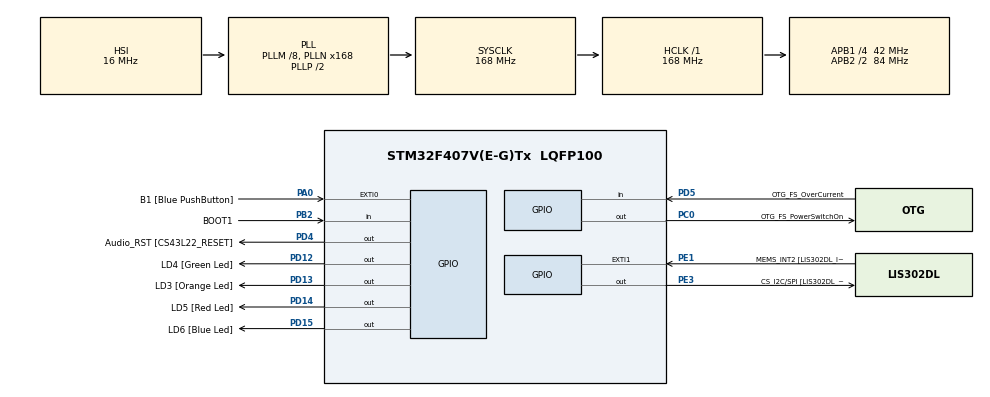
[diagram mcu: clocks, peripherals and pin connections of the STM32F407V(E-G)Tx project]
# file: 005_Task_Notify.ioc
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Mcu.Family=STM32F4
Mcu.Name=STM32F407V(E-G)Tx
Mcu.Package=LQFP100
NVIC.PriorityGroup=NVIC_PRIORITYGROUP_4
NVIC.TIM6_DAC_IRQn=true\:0\:0\:false\:false\:true\:false\:true\:true
NVIC.TimeBase=TIM6_DAC_IRQn
NVIC.TimeBaseIP=TIM6
PA0-WKUP.GPIO_Label=B1 [Blue PushButton]
PA0-WKUP.Signal=GPXTI0
PA10.GPIO_Label=OTG_FS_ID
PA10.GPIO_Mode=GPIO_MODE_AF_PP
PA10.GPIO_PuPd=GPIO_NOPULL
PA10.GPIO_Speed=GPIO_SPEED_FREQ_LOW
PA10.Signal=USB_OTG_FS_ID
PA11.GPIO_Label=OTG_FS_DM
PA11.GPIO_Mode=GPIO_MODE_AF_PP
PA11.GPIO_PuPd=GPIO_NOPULL
PA11.GPIO_Speed=GPIO_SPEED_FREQ_LOW
PA11.Signal=USB_OTG_FS_DM
PA12.GPIO_Label=OTG_FS_DP
PA12.GPIO_Mode=GPIO_MODE_AF_PP
PA12.GPIO_PuPd=GPIO_NOPULL
PA12.GPIO_Speed=GPIO_SPEED_FREQ_LOW
PA12.Signal=USB_OTG_FS_DP
PA13.GPIO_Label=SWDIO
PA13.Signal=SYS_JTMS-SWDIO
PA14.GPIO_Label=SWCLK
PA14.Signal=SYS_JTCK-SWCLK
PA4.GPIO_Label=I2S3_WS [CS43L22_LRCK]
PA4.GPIO_Mode=GPIO_MODE_AF_PP
PA4.GPIO_PuPd=GPIO_NOPULL
PA4.GPIO_Speed=GPIO_SPEED_FREQ_LOW
PA4.Signal=I2S3_WS
PA5.GPIO_Label=SPI1_SCK [LIS302DL_SCL/SPC]
PA5.GPIO_Mode=GPIO_MODE_AF_PP
PA5.GPIO_PuPd=GPIO_NOPULL
PA5.GPIO_Speed=GPIO_SPEED_FREQ_LOW
PA5.Signal=SPI1_SCK
PA6.GPIO_Label=SPI1_MISO [LIS302DL_SDO]
PA6.GPIO_Mode=GPIO_MODE_AF_PP
PA6.GPIO_PuPd=GPIO_NOPULL
PA6.GPIO_Speed=GPIO_SPEED_FREQ_LOW
PA6.Signal=SPI1_MISO
PA7.GPIO_Label=SPI1_MOSI [LIS302DL_SDA/SDI/SDO]
PA7.GPIO_Mode=GPIO_MODE_AF_PP
PA7.GPIO_PuPd=GPIO_NOPULL
PA7.GPIO_Speed=GPIO_SPEED_FREQ_LOW
PA7.Signal=SPI1_MOSI
PA9.GPIO_Label=VBUS_FS
PA9.GPIO_Mode=GPIO_MODE_INPUT
PA9.GPIO_PuPd=GPIO_NOPULL
PA9.Signal=USB_OTG_FS_VBUS
PB10.GPIO_Label=CLK_IN [MP45DT02_CLK]
PB10.GPIO_Mode=GPIO_MODE_AF_PP
PB10.GPIO_PuPd=GPIO_NOPULL
PB10.GPIO_Speed=GPIO_SPEED_FREQ_LOW
PB10.Signal=I2S2_CK
PB2.GPIO_Label=BOOT1
PB2.GPIO_Mode=GPIO_MODE_INPUT
PB2.GPIO_PuPd=GPIO_NOPULL
PB2.Signal=GPIO_Input
PB3.GPIO_Label=SWO
PB3.Signal=SYS_JTDO-SWO
PB6.GPIO_Label=Audio_SCL [CS43L22_SCL]
PB6.GPIO_Mode=GPIO_MODE_AF_OD
PB6.GPIO_PuPd=GPIO_NOPULL
PB6.GPIO_Speed=GPIO_SPEED_FREQ_LOW
PB6.Signal=I2C1_SCL
PB9.GPIO_Label=Audio_SDA [CS43L22_SDA]
PB9.GPIO_Mode=GPIO_MODE_AF_OD
PB9.GPIO_PuPd=GPIO_NOPULL
PB9.GPIO_Speed=GPIO_SPEED_FREQ_LOW
PB9.Signal=I2C1_SDA
PC0.GPIO_Label=OTG_FS_PowerSwitchOn
PC0.GPIO_PuPd=GPIO_NOPULL
PC0.GPIO_Speed=GPIO_SPEED_FREQ_LOW
PC0.PinState=GPIO_PIN_SET
PC0.Signal=GPIO_Output
PC10.GPIO_Label=I2S3_SCK [CS43L22_SCLK]
PC10.GPIO_Mode=GPIO_MODE_AF_PP
PC10.GPIO_PuPd=GPIO_NOPULL
PC10.GPIO_Speed=GPIO_SPEED_FREQ_LOW
PC10.Signal=I2S3_CK
PC12.GPIO_Label=I2S3_SD [CS43L22_SDIN]
PC12.GPIO_Mode=GPIO_MODE_AF_PP
PC12.GPIO_PuPd=GPIO_NOPULL
PC12.GPIO_Speed=GPIO_SPEED_FREQ_LOW
PC12.Signal=I2S3_SD
PC14-OSC32_IN.GPIO_Label=PC14-OSC32_IN
PC14-OSC32_IN.Signal=RCC_OSC32_IN
PC15-OSC32_OUT.GPIO_Label=PC15-OSC32_OUT
PC15-OSC32_OUT.Signal=RCC_OSC32_OUT
PC3.GPIO_Label=PDM_OUT [MP45DT02_DOUT]
PC3.GPIO_Mode=GPIO_MODE_AF_PP
PC3.GPIO_PuPd=GPIO_NOPULL
PC3.GPIO_Speed=GPIO_SPEED_FREQ_LOW
PC3.Signal=I2S2_SD
PC7.GPIO_Label=I2S3_MCK [CS43L22_MCLK]
PC7.GPIO_Mode=GPIO_MODE_AF_PP
PC7.GPIO_PuPd=GPIO_NOPULL
PC7.GPIO_Speed=GPIO_SPEED_FREQ_LOW
PC7.Signal=I2S3_MCK
PD12.GPIO_Label=LD4 [Green Led]
PD12.GPIO_PuPd=GPIO_NOPULL
PD12.GPIO_Speed=GPIO_SPEED_FREQ_LOW
PD12.Signal=GPIO_Output
PD13.GPIO_Label=LD3 [Orange Led]
PD13.GPIO_PuPd=GPIO_NOPULL
PD13.GPIO_Speed=GPIO_SPEED_FREQ_LOW
PD13.Signal=GPIO_Output
PD14.GPIO_Label=LD5 [Red Led]
PD14.GPIO_PuPd=GPIO_NOPULL
PD14.GPIO_Speed=GPIO_SPEED_FREQ_LOW
PD14.Signal=GPIO_Output
PD15.GPIO_Label=LD6 [Blue Led]
PD15.GPIO_PuPd=GPIO_NOPULL
PD15.GPIO_Speed=GPIO_SPEED_FREQ_LOW
PD15.Signal=GPIO_Output
PD4.GPIO_Label=Audio_RST [CS43L22_RESET]
PD4.GPIO_PuPd=GPIO_NOPULL
PD4.GPIO_Speed=GPIO_SPEED_FREQ_LOW
PD4.Signal=GPIO_Output
PD5.GPIO_Label=OTG_FS_OverCurrent
PD5.GPIO_Mode=GPIO_MODE_INPUT
PD5.GPIO_PuPd=GPIO_NOPULL
PD5.Signal=GPIO_Input
PE1.GPIO_Label=MEMS_INT2 [LIS302DL_INT2]
PE1.GPIO_ModeDefaultEXTI=GPIO_MODE_EVT_RISING
PE1.GPIO_PuPd=GPIO_NOPULL
PE1.Signal=GPXTI1
PE3.GPIO_Label=CS_I2C/SPI [LIS302DL_CS_I2C/SPI]
PE3.GPIO_PuPd=GPIO_NOPULL
PE3.GPIO_Speed=GPIO_SPEED_FREQ_LOW
PE3.Signal=GPIO_Output
PH0-OSC_IN.GPIO_Label=PH0-OSC_IN
PH0-OSC_IN.Signal=RCC_OSC_IN
PH1-OSC_OUT.GPIO_Label=PH1-OSC_OUT
PH1-OSC_OUT.Signal=RCC_OSC_OUT
ProjectManager.HeapSize=0x200
ProjectManager.StackSize=0x400
ProjectManager.TargetToolchain=STM32CubeIDE
RCC.48MHZClocksFreq_Value=48000000
RCC.AHBFreq_Value=168000000
RCC.APB1CLKDivider=RCC_HCLK_DIV4
RCC.APB1Freq_Value=42000000
RCC.APB1TimFreq_Value=84000000
RCC.APB2CLKDivider=RCC_HCLK_DIV2
RCC.APB2Freq_Value=84000000
RCC.APB2TimFreq_Value=168000000
RCC.CortexFreq_Value=168000000
RCC.HCLKFreq_Value=168000000
RCC.HSE_VALUE=8000000
RCC.HSI_VALUE=16000000
RCC.LSE_VALUE=32768
RCC.PLLM=8
RCC.PLLN=168
RCC.PLLQ=7
RCC.SYSCLKFreq_VALUE=168000000
RCC.SYSCLKSource=RCC_SYSCLKSOURCE_PLLCLK
RCC.VCOOutputFreq_Value=336000000
VP_SYS_VS_tim6.Mode=TIM6
board=STM32F407G-DISC1

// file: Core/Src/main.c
/* USER CODE BEGIN Header */
/**
  ******************************************************************************
  * @file           : main.c
  * @brief          : Main program body
  ******************************************************************************
  * @attention
  *
  * <h2><center>&copy; Copyright (c) 2021 STMicroelectronics.
  * All rights reserved.</center></h2>
  *
  * This software component is licensed by ST under BSD 3-Clause license,
  * the "License"; You may not use this file except in compliance with the
  * License. You may obtain a copy of the License at:
  *                        opensource.org/licenses/BSD-3-Clause
  *
  ******************************************************************************
  */
/* USER CODE END Header */
#include "main.h"

/* USER CODE BEGIN Includes */

#include "FreeRTOS.h"
#include "task.h"

/* USER CODE END Includes */

/* USER CODE BEGIN PV */

#define DWT_CTRL    (*(volatile uint32_t*)0xE0001000)

/* USER CODE END PV */

void SystemClock_Config(void);
static void MX_GPIO_Init(void);
/* USER CODE BEGIN PFP */

static void led_green_handler(void* parameters);
static void led_orange_handler(void* parameters);
static void led_red_handler(void* parameters);
static void button_handler();

TaskHandle_t task1_handle;
TaskHandle_t task2_handle;
TaskHandle_t task3_handle;
TaskHandle_t task4_handle;
TaskHandle_t volatile next_task_handle=NULL;

extern void SEGGER_UART_init(uint32_t);
/* USER CODE END PFP */

int main(void)
{
  /* USER CODE BEGIN 1 */

	BaseType_t status;

  /* USER CODE END 1 */

  /* MCU Configuration--------------------------------------------------------*/

  /* Reset of all peripherals, Initializes the Flash interface and the Systick. */
  HAL_Init();

  /* Configure the system clock */
  SystemClock_Config();

  /* Initialize all configured peripherals */
  MX_GPIO_Init();
  /* USER CODE BEGIN 2 */

  SEGGER_UART_init(500000);

  //CYCLCNT enable for SEGGER view
  DWT_CTRL |= ( 1 << 0);

  SEGGER_SYSVIEW_Conf();

  status = xTaskCreate(led_green_handler, "LED_green_task", 200, NULL, 2, &task1_handle);

  configASSERT(status == pdPASS);
  next_task_handle =task1_handle;

  status = xTaskCreate(led_red_handler, "LED_red_task", 200,NULL, 2, &task2_handle);

  configASSERT(status == pdPASS);

  status = xTaskCreate(led_orange_handler, "LED_orange_task", 200, NULL, 2, &task3_handle);

  configASSERT(status == pdPASS);

  status =xTaskCreate(button_handler, "Button_Task", 200, NULL, 4, &task4_handle);

  configASSERT(status == pdPASS);
  //start the freeRTOS scheduler
  vTaskStartScheduler();

  /* USER CODE END 2 */

  /* Infinite loop */
  while (1)
  {

  }
}

void SystemClock_Config(void)
{
  RCC_OscInitTypeDef RCC_OscInitStruct = {0};
  RCC_ClkInitTypeDef RCC_ClkInitStruct = {0};

  /** Configure the main internal regulator output voltage
  */
  __HAL_RCC_PWR_CLK_ENABLE();
  __HAL_PWR_VOLTAGESCALING_CONFIG(PWR_REGULATOR_VOLTAGE_SCALE1);

  /** Initializes the RCC Oscillators according to the specified parameters
  * in the RCC_OscInitTypeDef structure.
  */
  RCC_OscInitStruct.OscillatorType = RCC_OSCILLATORTYPE_HSI;
  RCC_OscInitStruct.HSIState = RCC_HSI_ON;
  RCC_OscInitStruct.HSICalibrationValue = RCC_HSICALIBRATION_DEFAULT;
  RCC_OscInitStruct.PLL.PLLState = RCC_PLL_ON;
  RCC_OscInitStruct.PLL.PLLSource = RCC_PLLSOURCE_HSI;
  RCC_OscInitStruct.PLL.PLLM = 8;
  RCC_OscInitStruct.PLL.PLLN = 168;
  RCC_OscInitStruct.PLL.PLLP = RCC_PLLP_DIV2;
  RCC_OscInitStruct.PLL.PLLQ = 7;
  if (HAL_RCC_OscConfig(&RCC_OscInitStruct) != HAL_OK)
  {
    Error_Handler();
  }

  /** Initializes the CPU, AHB and APB buses clocks
  */
  RCC_ClkInitStruct.ClockType = RCC_CLOCKTYPE_HCLK|RCC_CLOCKTYPE_SYSCLK
                              |RCC_CLOCKTYPE_PCLK1|RCC_CLOCKTYPE_PCLK2;
  RCC_ClkInitStruct.SYSCLKSource = RCC_SYSCLKSOURCE_PLLCLK;
  RCC_ClkInitStruct.AHBCLKDivider = RCC_SYSCLK_DIV1;
  RCC_ClkInitStruct.APB1CLKDivider = RCC_HCLK_DIV4;
  RCC_ClkInitStruct.APB2CLKDivider = RCC_HCLK_DIV2;

  if (HAL_RCC_ClockConfig(&RCC_ClkInitStruct, FLASH_LATENCY_5) != HAL_OK)
  {
    Error_Handler();
  }
}

static void MX_GPIO_Init(void)
{
  GPIO_InitTypeDef GPIO_InitStruct = {0};

  /* GPIO Ports Clock Enable */
  __HAL_RCC_GPIOE_CLK_ENABLE();
  __HAL_RCC_GPIOC_CLK_ENABLE();
  __HAL_RCC_GPIOH_CLK_ENABLE();
  __HAL_RCC_GPIOA_CLK_ENABLE();
  __HAL_RCC_GPIOB_CLK_ENABLE();
  __HAL_RCC_GPIOD_CLK_ENABLE();

  /*Configure GPIO pin Output Level */
  HAL_GPIO_WritePin(CS_I2C_SPI_GPIO_Port, CS_I2C_SPI_Pin, GPIO_PIN_RESET);

  /*Configure GPIO pin Output Level */
  HAL_GPIO_WritePin(OTG_FS_PowerSwitchOn_GPIO_Port, OTG_FS_PowerSwitchOn_Pin, GPIO_PIN_SET);

  /*Configure GPIO pin Output Level */
  HAL_GPIO_WritePin(GPIOD, LD4_Pin|LD3_Pin|LD5_Pin|LD6_Pin
                          |Audio_RST_Pin, GPIO_PIN_RESET);

  /*Configure GPIO pin : CS_I2C_SPI_Pin */
  GPIO_InitStruct.Pin = CS_I2C_SPI_Pin;
  GPIO_InitStruct.Mode = GPIO_MODE_OUTPUT_PP;
  GPIO_InitStruct.Pull = GPIO_NOPULL;
  GPIO_InitStruct.Speed = GPIO_SPEED_FREQ_LOW;
  HAL_GPIO_Init(CS_I2C_SPI_GPIO_Port, &GPIO_InitStruct);

  /*Configure GPIO pin : OTG_FS_PowerSwitchOn_Pin */
  GPIO_InitStruct.Pin = OTG_FS_PowerSwitchOn_Pin;
  GPIO_InitStruct.Mode = GPIO_MODE_OUTPUT_PP;
  GPIO_InitStruct.Pull = GPIO_NOPULL;
  GPIO_InitStruct.Speed = GPIO_SPEED_FREQ_LOW;
  HAL_GPIO_Init(OTG_FS_PowerSwitchOn_GPIO_Port, &GPIO_InitStruct);

  /*Configure GPIO pin : PDM_OUT_Pin */
  GPIO_InitStruct.Pin = PDM_OUT_Pin;
  GPIO_InitStruct.Mode = GPIO_MODE_AF_PP;
  GPIO_InitStruct.Pull = GPIO_NOPULL;
  GPIO_InitStruct.Speed = GPIO_SPEED_FREQ_LOW;
  GPIO_InitStruct.Alternate = GPIO_AF5_SPI2;
  HAL_GPIO_Init(PDM_OUT_GPIO_Port, &GPIO_InitStruct);

  /*Configure GPIO pin : B1_Pin */
  GPIO_InitStruct.Pin = B1_Pin;
  GPIO_InitStruct.Mode = GPIO_MODE_IT_RISING;
  GPIO_InitStruct.Pull = GPIO_NOPULL;
  HAL_GPIO_Init(B1_GPIO_Port, &GPIO_InitStruct);

  /*Configure GPIO pin : I2S3_WS_Pin */
  GPIO_InitStruct.Pin = I2S3_WS_Pin;
  GPIO_InitStruct.Mode = GPIO_MODE_AF_PP;
  GPIO_InitStruct.Pull = GPIO_NOPULL;
  GPIO_InitStruct.Speed = GPIO_SPEED_FREQ_LOW;
  GPIO_InitStruct.Alternate = GPIO_AF6_SPI3;
  HAL_GPIO_Init(I2S3_WS_GPIO_Port, &GPIO_InitStruct);

  /*Configure GPIO pins : SPI1_SCK_Pin SPI1_MISO_Pin SPI1_MOSI_Pin */
  GPIO_InitStruct.Pin = SPI1_SCK_Pin|SPI1_MISO_Pin|SPI1_MOSI_Pin;
  GPIO_InitStruct.Mode = GPIO_MODE_AF_PP;
  GPIO_InitStruct.Pull = GPIO_NOPULL;
  GPIO_InitStruct.Speed = GPIO_SPEED_FREQ_LOW;
  GPIO_InitStruct.Alternate = GPIO_AF5_SPI1;
  HAL_GPIO_Init(GPIOA, &GPIO_InitStruct);

  /*Configure GPIO pin : BOOT1_Pin */
  GPIO_InitStruct.Pin = BOOT1_Pin;
  GPIO_InitStruct.Mode = GPIO_MODE_INPUT;
  GPIO_InitStruct.Pull = GPIO_NOPULL;
  HAL_GPIO_Init(BOOT1_GPIO_Port, &GPIO_InitStruct);

  /*Configure GPIO pin : CLK_IN_Pin */
  GPIO_InitStruct.Pin = CLK_IN_Pin;
  GPIO_InitStruct.Mode = GPIO_MODE_AF_PP;
  GPIO_InitStruct.Pull = GPIO_NOPULL;
  GPIO_InitStruct.Speed = GPIO_SPEED_FREQ_LOW;
  GPIO_InitStruct.Alternate = GPIO_AF5_SPI2;
  HAL_GPIO_Init(CLK_IN_GPIO_Port, &GPIO_InitStruct);

  /*Configure GPIO pins : LD4_Pin LD3_Pin LD5_Pin LD6_Pin
                           Audio_RST_Pin */
  GPIO_InitStruct.Pin = LD4_Pin|LD3_Pin|LD5_Pin|LD6_Pin
                          |Audio_RST_Pin;
  GPIO_InitStruct.Mode = GPIO_MODE_OUTPUT_PP;
  GPIO_InitStruct.Pull = GPIO_NOPULL;
  GPIO_InitStruct.Speed = GPIO_SPEED_FREQ_LOW;
  HAL_GPIO_Init(GPIOD, &GPIO_InitStruct);

  /*Configure GPIO pins : I2S3_MCK_Pin I2S3_SCK_Pin I2S3_SD_Pin */
  GPIO_InitStruct.Pin = I2S3_MCK_Pin|I2S3_SCK_Pin|I2S3_SD_Pin;
  GPIO_InitStruct.Mode = GPIO_MODE_AF_PP;
  GPIO_InitStruct.Pull = GPIO_NOPULL;
  GPIO_InitStruct.Speed = GPIO_SPEED_FREQ_LOW;
  GPIO_InitStruct.Alternate = GPIO_AF6_SPI3;
  HAL_GPIO_Init(GPIOC, &GPIO_InitStruct);

  /*Configure GPIO pin : VBUS_FS_Pin */
  GPIO_InitStruct.Pin = VBUS_FS_Pin;
  GPIO_InitStruct.Mode = GPIO_MODE_INPUT;
  GPIO_InitStruct.Pull = GPIO_NOPULL;
  HAL_GPIO_Init(VBUS_FS_GPIO_Port, &GPIO_InitStruct);

  /*Configure GPIO pins : OTG_FS_ID_Pin OTG_FS_DM_Pin OTG_FS_DP_Pin */
  GPIO_InitStruct.Pin = OTG_FS_ID_Pin|OTG_FS_DM_Pin|OTG_FS_DP_Pin;
  GPIO_InitStruct.Mode = GPIO_MODE_AF_PP;
  GPIO_InitStruct.Pull = GPIO_NOPULL;
  GPIO_InitStruct.Speed = GPIO_SPEED_FREQ_LOW;
  GPIO_InitStruct.Alternate = GPIO_AF10_OTG_FS;
  HAL_GPIO_Init(GPIOA, &GPIO_InitStruct);

  /*Configure GPIO pin : OTG_FS_OverCurrent_Pin */
  GPIO_InitStruct.Pin = OTG_FS_OverCurrent_Pin;
  GPIO_InitStruct.Mode = GPIO_MODE_INPUT;
  GPIO_InitStruct.Pull = GPIO_NOPULL;
  HAL_GPIO_Init(OTG_FS_OverCurrent_GPIO_Port, &GPIO_InitStruct);

  /*Configure GPIO pins : Audio_SCL_Pin Audio_SDA_Pin */
  GPIO_InitStruct.Pin = Audio_SCL_Pin|Audio_SDA_Pin;
  GPIO_InitStruct.Mode = GPIO_MODE_AF_OD;
  GPIO_InitStruct.Pull = GPIO_NOPULL;
  GPIO_InitStruct.Speed = GPIO_SPEED_FREQ_LOW;
  GPIO_InitStruct.Alternate = GPIO_AF4_I2C1;
  HAL_GPIO_Init(GPIOB, &GPIO_InitStruct);

  /*Configure GPIO pin : MEMS_INT2_Pin */
  GPIO_InitStruct.Pin = MEMS_INT2_Pin;
  GPIO_InitStruct.Mode = GPIO_MODE_EVT_RISING;
  GPIO_InitStruct.Pull = GPIO_NOPULL;
  HAL_GPIO_Init(MEMS_INT2_GPIO_Port, &GPIO_InitStruct);

}

/* USER CODE BEGIN 4 */

static void button_handler()
{
	uint8_t btn_read=0;
	uint8_t prev_read=0;
	while(1)
	{
		btn_read=HAL_GPIO_ReadPin(GPIOA, GPIO_PIN_0);
		if(btn_read)
		{
			if(!prev_read)
			{
				xTaskNotify(next_task_handle,0,eNoAction);
			}

		}
		prev_read=btn_read;
		vTaskDelay(pdMS_TO_TICKS(10));
	}
}

static void led_green_handler(void* parameters)
{
	BaseType_t status;
	while(1)
	{
		SEGGER_SYSVIEW_PrintfTarget("Toggling green LED");
		HAL_GPIO_TogglePin(GPIOD, LED_GREEN_PIN);
		status=xTaskNotifyWait(0,0,NULL,pdMS_TO_TICKS(1000));
		if(status==pdTRUE)
		{
			vTaskSuspendAll();
			next_task_handle=task2_handle;
			xTaskResumeAll();
			HAL_GPIO_WritePin(GPIOD, LED_GREEN_PIN, GPIO_PIN_SET);
			SEGGER_SYSVIEW_PrintfTarget("Delete Green LED Task");
			vTaskDelete(NULL);//When null is given as the parameter,function deletes the task it's in.
		}
	}
}

static void led_orange_handler(void* parameters)
{
	BaseType_t status;

	while(1)
	{
		SEGGER_SYSVIEW_PrintfTarget("Toggling orange LED");
		HAL_GPIO_TogglePin(GPIOD, LED_ORANGE_PIN);
		status=xTaskNotifyWait(0,0,NULL,pdMS_TO_TICKS(400));
		if(status==pdTRUE)
		{
			vTaskSuspendAll();
			next_task_handle=task3_handle;
			xTaskResumeAll();
			HAL_GPIO_WritePin(GPIOD, LED_ORANGE_PIN, GPIO_PIN_SET);
			SEGGER_SYSVIEW_PrintfTarget("Delete Orange LED Task");
			vTaskDelete(NULL);//When null is given as the parameter,function deletes the task it's in.
		}
	}
}

static void led_red_handler(void* parameters)
{
	BaseType_t status;

	while(1)
	{
		SEGGER_SYSVIEW_PrintfTarget("Toggling RED LED");
		HAL_GPIO_TogglePin(GPIOD, LED_RED_PIN);
		status=xTaskNotifyWait(0,0,NULL,pdMS_TO_TICKS(800));
		if(status==pdTRUE)
		{
			vTaskSuspendAll();
			next_task_handle=NULL;
			xTaskResumeAll();
			HAL_GPIO_WritePin(GPIOD, LED_RED_PIN, GPIO_PIN_SET);
			SEGGER_SYSVIEW_PrintfTarget("Delete RED LED Task");
			vTaskDelete(NULL);//When null is given as the parameter,function deletes the task it's in.
		}
	}

}

/* USER CODE END 4 */

void HAL_TIM_PeriodElapsedCallback(TIM_HandleTypeDef *htim)
{
  if (htim->Instance == TIM6) {
    HAL_IncTick();
  }
}

void Error_Handler(void)
{
}
